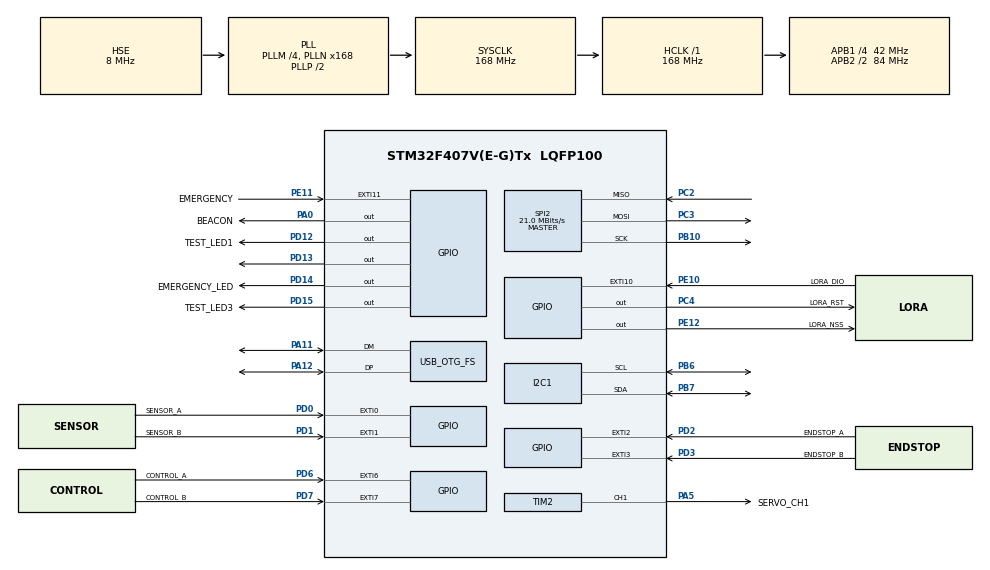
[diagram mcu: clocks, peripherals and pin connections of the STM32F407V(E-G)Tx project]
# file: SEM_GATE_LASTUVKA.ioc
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I2C1.I2C_Mode=I2C_Fast
Mcu.Family=STM32F4
Mcu.Name=STM32F407V(E-G)Tx
Mcu.Package=LQFP100
NVIC.EXTI0_IRQn=true\:0\:0\:false\:false\:true\:true\:true\:true
NVIC.EXTI15_10_IRQn=true\:0\:0\:false\:false\:true\:true\:true\:true
NVIC.EXTI1_IRQn=true\:0\:0\:false\:false\:true\:true\:true\:true
NVIC.EXTI2_IRQn=true\:0\:0\:false\:false\:true\:true\:true\:true
NVIC.EXTI3_IRQn=true\:0\:0\:false\:false\:true\:true\:true\:true
NVIC.EXTI9_5_IRQn=true\:0\:0\:false\:false\:true\:true\:true\:true
NVIC.OTG_FS_IRQn=true\:0\:0\:false\:false\:true\:false\:true\:true
NVIC.PriorityGroup=NVIC_PRIORITYGROUP_4
NVIC.TIM5_IRQn=true\:0\:0\:false\:false\:true\:true\:true\:true
NVIC.TIM6_DAC_IRQn=true\:15\:0\:false\:false\:true\:false\:true\:true
NVIC.TimeBase=TIM6_DAC_IRQn
NVIC.TimeBaseIP=TIM6
PA0-WKUP.GPIO_Label=BEACON
PA0-WKUP.Signal=GPIO_Output
PA11.Mode=Device_Only
PA11.Signal=USB_OTG_FS_DM
PA12.Mode=Device_Only
PA12.Signal=USB_OTG_FS_DP
PA5.GPIO_Label=SERVO_CH1
PA5.Signal=S_TIM2_CH1_ETR
PB10.Mode=Full_Duplex_Master
PB10.Signal=SPI2_SCK
PB6.Mode=I2C
PB6.Signal=I2C1_SCL
PB7.Mode=I2C
PB7.Signal=I2C1_SDA
PC2.Mode=Full_Duplex_Master
PC2.Signal=SPI2_MISO
PC3.Mode=Full_Duplex_Master
PC3.Signal=SPI2_MOSI
PC4.GPIO_Label=LORA_RST
PC4.GPIO_Speed=GPIO_SPEED_FREQ_MEDIUM
PC4.Signal=GPIO_Output
PD0.GPIO_Label=SENSOR_A
PD0.GPIO_ModeDefaultEXTI=GPIO_MODE_IT_RISING_FALLING
PD0.GPIO_PuPd=GPIO_NOPULL
PD0.Signal=GPXTI0
PD1.GPIO_Label=SENSOR_B
PD1.GPIO_ModeDefaultEXTI=GPIO_MODE_IT_RISING_FALLING
PD1.GPIO_PuPd=GPIO_NOPULL
PD1.Signal=GPXTI1
PD12.GPIO_Label=TEST_LED1
PD12.GPIO_Speed=GPIO_SPEED_FREQ_MEDIUM
PD12.Signal=GPIO_Output
PD13.Signal=GPIO_Output
PD14.GPIO_Label=EMERGENCY_LED
PD14.GPIO_Speed=GPIO_SPEED_FREQ_MEDIUM
PD14.Signal=GPIO_Output
PD15.GPIO_Label=TEST_LED3
PD15.GPIO_Speed=GPIO_SPEED_FREQ_MEDIUM
PD15.Signal=GPIO_Output
PD2.GPIO_Label=ENDSTOP_A
PD2.GPIO_ModeDefaultEXTI=GPIO_MODE_IT_RISING_FALLING
PD2.GPIO_PuPd=GPIO_PULLUP
PD2.Signal=GPXTI2
PD3.GPIO_Label=ENDSTOP_B
PD3.GPIO_ModeDefaultEXTI=GPIO_MODE_IT_RISING_FALLING
PD3.GPIO_PuPd=GPIO_PULLUP
PD3.Signal=GPXTI3
PD6.GPIO_Label=CONTROL_A
PD6.GPIO_ModeDefaultEXTI=GPIO_MODE_IT_RISING_FALLING
PD6.GPIO_PuPd=GPIO_PULLUP
PD6.Signal=GPXTI6
PD7.GPIO_Label=CONTROL_B
PD7.GPIO_ModeDefaultEXTI=GPIO_MODE_IT_RISING_FALLING
PD7.GPIO_PuPd=GPIO_PULLUP
PD7.Signal=GPXTI7
PE10.GPIO_Label=LORA_DIO
PE10.GPIO_ModeDefaultEXTI=GPIO_MODE_IT_RISING_FALLING
PE10.GPIO_PuPd=GPIO_NOPULL
PE10.Signal=GPXTI10
PE11.GPIO_Label=EMERGENCY
PE11.GPIO_ModeDefaultEXTI=GPIO_MODE_IT_RISING_FALLING
PE11.GPIO_PuPd=GPIO_PULLUP
PE11.Signal=GPXTI11
PE12.GPIO_Label=LORA_NSS
PE12.Signal=GPIO_Output
PH0-OSC_IN.Mode=HSE-External-Oscillator
PH0-OSC_IN.Signal=RCC_OSC_IN
PH1-OSC_OUT.Mode=HSE-External-Oscillator
PH1-OSC_OUT.Signal=RCC_OSC_OUT
ProjectManager.HeapSize=0x200
ProjectManager.StackSize=0x400
ProjectManager.TargetToolchain=Makefile
RCC.48MHZClocksFreq_Value=48000000
RCC.AHBFreq_Value=168000000
RCC.APB1CLKDivider=RCC_HCLK_DIV4
RCC.APB1Freq_Value=42000000
RCC.APB1TimFreq_Value=84000000
RCC.APB2CLKDivider=RCC_HCLK_DIV2
RCC.APB2Freq_Value=84000000
RCC.APB2TimFreq_Value=168000000
RCC.CortexFreq_Value=168000000
RCC.HCLKFreq_Value=168000000
RCC.HSE_VALUE=8000000
RCC.HSI_VALUE=16000000
RCC.LSE_VALUE=32768
RCC.PLLM=4
RCC.PLLN=168
RCC.PLLQ=7
RCC.SYSCLKFreq_VALUE=168000000
RCC.SYSCLKSource=RCC_SYSCLKSOURCE_PLLCLK
RCC.VCOOutputFreq_Value=336000000
SH.S_TIM2_CH1_ETR.0=TIM2_CH1,PWM Generation1 CH1
SPI2.CalculateBaudRate=21.0 MBits/s
SPI2.Direction=SPI_DIRECTION_2LINES
SPI2.Mode=SPI_MODE_MASTER
SPI2.VirtualType=VM_MASTER
TIM2.Channel-PWM\ Generation1\ CH1=TIM_CHANNEL_1
TIM2.OCFastMode_PWM-PWM\ Generation1\ CH1=TIM_OCFAST_ENABLE
TIM2.Period=1000
TIM2.Prescaler=840
TIM5.Period=4999
TIM5.Prescaler=7199
USB_DEVICE.CLASS_NAME_FS=CDC
USB_DEVICE.VirtualMode-CDC_FS=Cdc
USB_DEVICE.VirtualModeFS=Cdc_FS
USB_OTG_FS.VirtualMode=Device_Only
VP_SYS_VS_tim6.Mode=TIM6
VP_TIM2_VS_ClockSourceINT.Mode=Internal
VP_TIM5_VS_ClockSourceINT.Mode=Internal
VP_USB_DEVICE_VS_USB_DEVICE_CDC_FS.Mode=CDC_FS
board=custom

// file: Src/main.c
/* USER CODE BEGIN Header */
/**
 ******************************************************************************
 * @file           : main.c
 * @brief          : Main program body
 ******************************************************************************
 * @attention
 *
 * Copyright (c) 2024 STMicroelectronics.
 * All rights reserved.
 *
 * This software is licensed under terms that can be found in the LICENSE file
 * in the root directory of this software component.
 * If no LICENSE file comes with this software, it is provided AS-IS.
 *
 ******************************************************************************
 */
/* USER CODE END Header */
#include "main.h"
#include "i2c.h"
#include "spi.h"
#include "tim.h"
#include "usb_device.h"
#include "gpio.h"

/* USER CODE BEGIN Includes */
#include "xt_gate_stm32.h"
#include "stdbool.h"
#include "stm32f4xx_hal_pcd.h"

/* USER CODE END Includes */

/* USER CODE BEGIN PD */
// #define DEBUG_PRINT 1U
/* USER CODE END PD */

void SystemClock_Config(void);

int main(void)
{

  /* MCU Configuration--------------------------------------------------------*/

  /* Reset of all peripherals, Initializes the Flash interface and the Systick. */
  HAL_Init();

  /* Configure the system clock */
  SystemClock_Config();

  /* Initialize all configured peripherals */
  MX_GPIO_Init();
  MX_I2C1_Init();
  MX_TIM2_Init();
  MX_USB_DEVICE_Init();
  MX_SPI2_Init();
  MX_TIM5_Init();
  /* USER CODE BEGIN 2 */
  XT_Gate_Init();

  /* USER CODE END 2 */

  /* Infinite loop */
  /* USER CODE BEGIN WHILE */
  while (1)
  {
    XT_Gate_Loop();
    /* USER CODE END WHILE */

  }
}

void SystemClock_Config(void)
{
  RCC_OscInitTypeDef RCC_OscInitStruct = {0};
  RCC_ClkInitTypeDef RCC_ClkInitStruct = {0};

  /** Configure the main internal regulator output voltage
   */
  __HAL_RCC_PWR_CLK_ENABLE();
  __HAL_PWR_VOLTAGESCALING_CONFIG(PWR_REGULATOR_VOLTAGE_SCALE1);

  /** Initializes the RCC Oscillators according to the specified parameters
   * in the RCC_OscInitTypeDef structure.
   */
  RCC_OscInitStruct.OscillatorType = RCC_OSCILLATORTYPE_HSE;
  RCC_OscInitStruct.HSEState = RCC_HSE_ON;
  RCC_OscInitStruct.PLL.PLLState = RCC_PLL_ON;
  RCC_OscInitStruct.PLL.PLLSource = RCC_PLLSOURCE_HSE;
  RCC_OscInitStruct.PLL.PLLM = 4;
  RCC_OscInitStruct.PLL.PLLN = 168;
  RCC_OscInitStruct.PLL.PLLP = RCC_PLLP_DIV2;
  RCC_OscInitStruct.PLL.PLLQ = 7;
  if (HAL_RCC_OscConfig(&RCC_OscInitStruct) != HAL_OK)
  {
    Error_Handler();
  }

  /** Initializes the CPU, AHB and APB buses clocks
   */
  RCC_ClkInitStruct.ClockType = RCC_CLOCKTYPE_HCLK | RCC_CLOCKTYPE_SYSCLK | RCC_CLOCKTYPE_PCLK1 | RCC_CLOCKTYPE_PCLK2;
  RCC_ClkInitStruct.SYSCLKSource = RCC_SYSCLKSOURCE_PLLCLK;
  RCC_ClkInitStruct.AHBCLKDivider = RCC_SYSCLK_DIV1;
  RCC_ClkInitStruct.APB1CLKDivider = RCC_HCLK_DIV4;
  RCC_ClkInitStruct.APB2CLKDivider = RCC_HCLK_DIV2;

  if (HAL_RCC_ClockConfig(&RCC_ClkInitStruct, FLASH_LATENCY_5) != HAL_OK)
  {
    Error_Handler();
  }
}

/* USER CODE BEGIN 4 */

void HAL_Tick_Callback(void)
{
  uint32_t tick = HAL_GetTick();
  XT_Gate_Task_Btn(&tick);
  XT_Gate_Task_Lora(&tick);
}

void HAL_GPIO_EXTI_Callback(uint16_t GPIO_Pin)
{
  size_t i;
  for (i = 0; i < MAX_BTNS_INTERRUPT; i++)
  {
    if (btns[i].gpio_pin == GPIO_Pin)
    {
      btns[i].is_press = HAL_GPIO_ReadPin(btns[i].gpio_port, btns[i].gpio_pin);
    }
  }
}

/* USER CODE END 4 */

void HAL_TIM_PeriodElapsedCallback(TIM_HandleTypeDef *htim)
{
  if (htim->Instance == TIM6)
  {
    HAL_IncTick();
  }
  /* USER CODE BEGIN Callback 1 */
  if (htim->Instance == TIM6)
  {
    HAL_Tick_Callback();
  }
  if (htim->Instance == TIM5)
  {
    XT_GATE_Beacon_Blink(1);
  }
  /* USER CODE END Callback 1 */
}

void Error_Handler(void)
{
  __disable_irq();
  while (1)
  {
  }
}
